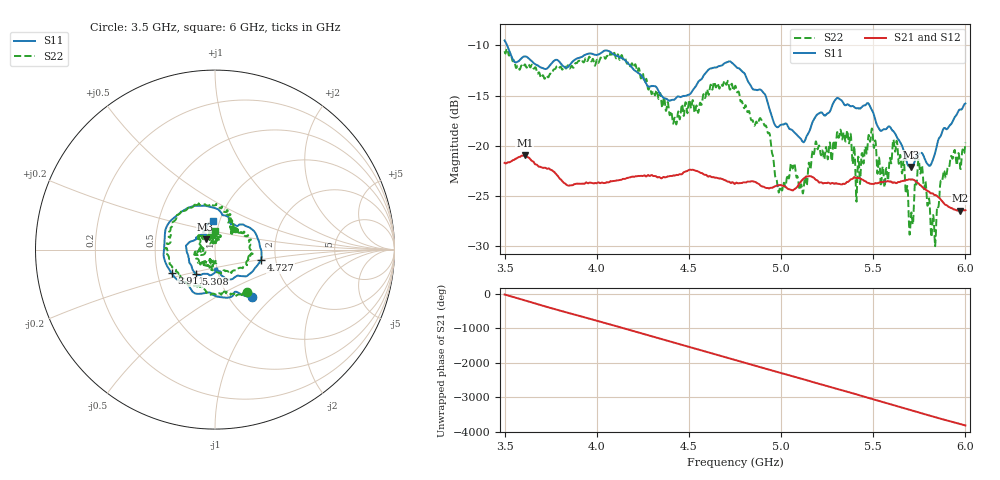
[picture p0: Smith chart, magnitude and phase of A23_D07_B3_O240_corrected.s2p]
! Created with skrf 1.9.0 (http://scikit-rf.org).
# Hz S RI R 50.0
!freq ReS11 ImS11 ReS21 ImS21 ReS12 ImS12 ReS22 ImS22
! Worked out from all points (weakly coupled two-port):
!   1601 points, 3.5 GHz to 6 GHz, reference 50 ohm
!   highest |S21| = -20.98 dB at 3.609 GHz (marker M1); lowest = -26.5 dB at 5.972 GHz (marker M2)
!   lowest |S11| = -22.1 dB at 5.706 GHz (marker M3), VSWR 1.17, Z = 44.7 + j5.22 ohm
!   |S11| at or under -10 dB: 3.514 GHz to end of sweep
!   |S22| runs from -30.0 to -10.3 dB; largest |S21 - S12| = 0.001
!   S11 on the Smith chart (normalised r, x): 3.5 GHz: 1.27, -0.75; 3.911 GHz: 0.59, -0.17; 4.727 GHz: 1.67, -0.20; 5.308 GHz: 0.78, -0.22; 6 GHz: 0.93, +0.31
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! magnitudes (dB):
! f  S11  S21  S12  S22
! 3.5 GHz  -9.5  -21.7  -21.7  -10.6
! 3.609 GHz  -11.1  -21.0  -21.0  -11.9
! 3.911 GHz  -11.2  -23.8  -23.8  -11.6
! 3.917 GHz  -11.2  -23.8  -23.8  -11.5
! 4.334 GHz  -14.5  -23.1  -23.1  -15.3
! 4.423 GHz  -15.4  -23.0  -23.0  -17.2
! 4.727 GHz  -11.6  -23.7  -23.6  -14.2
! 4.75 GHz  -12.0  -23.8  -23.7  -14.1
! 4.928 GHz  -15.8  -24.2  -24.2  -18.7
! 4.994 GHz  -18.0  -23.9  -23.9  -24.2
! 5.167 GHz  -17.8  -23.1  -23.1  -21.0
! 5.308 GHz  -15.2  -23.8  -23.8  -18.8
! 5.417 GHz  -16.3  -23.2  -23.3  -21.3
! 5.484 GHz  -16.1  -23.8  -23.8  -19.5
! 5.584 GHz  -18.1  -23.6  -23.5  -22.5
! 5.62 GHz  -18.8  -23.7  -23.7  -20.5
! 5.706 GHz  -22.1  -23.4  -23.4  -26.7
! 5.753 GHz  -20.8  -23.9  -23.9  -22.5
! 5.827 GHz  -21.3  -24.8  -24.8  -27.0
! 5.875 GHz  -18.6  -25.6  -25.5  -23.4
! 5.972 GHz  -16.4  -26.5  -26.4  -22.3
! 6 GHz  -15.8  -26.4  -26.4  -19.7
